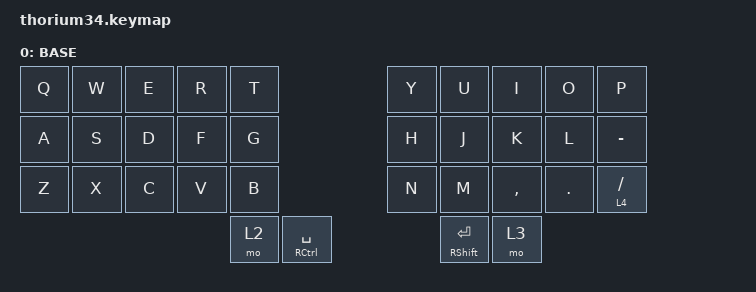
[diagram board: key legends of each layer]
#include <dt-bindings/zmk/mouse.h>
#include <behaviors/rgbled_widget.dtsi>
#include <behaviors.dtsi>
#include <dt-bindings/zmk/bt.h>
#include <dt-bindings/zmk/keys.h>
#include <dt-bindings/zmk/outputs.h>
#include <dt-bindings/zmk/pointing.h>

&mt {
    quick-tap-ms = <175>;
    require-prior-idle-ms = <125>;
    flavor = "tap-preferred";
    tapping-term-ms = <300>;
};

/ {
    keymap {
        compatible = "zmk,keymap";

        base_layer {
            display-name = "BASE";
            bindings = <
                &kp Q       &kp W       &kp E       &kp R       &kp T       &kp Y       &kp U       &kp I       &kp O       &kp P
                &kp A       &kp S       &kp D       &kp F       &kp G       &kp H       &kp J       &kp K       &kp L       &kp MINUS
                &kp Z       &kp X       &kp C       &kp V       &kp B       &kp N       &kp M       &kp COMMA   &kp DOT     &lt 4 SLASH
                                                    &mo 2       &mt RCTRL SPACE &mt RIGHT_SHIFT ENTER &mo 3
            >;
        };
    };
};
